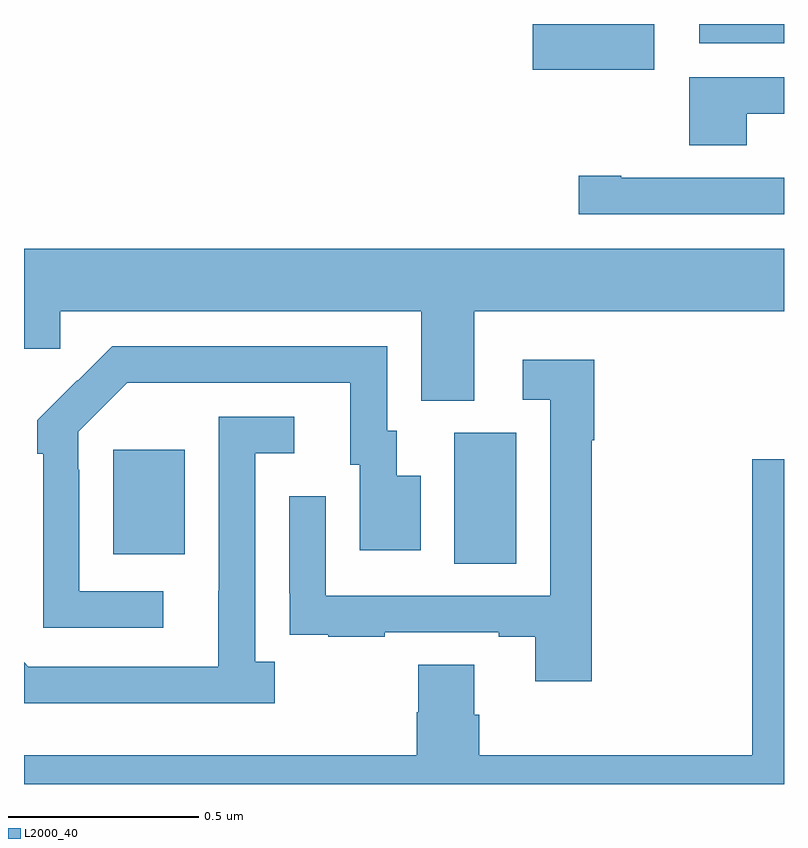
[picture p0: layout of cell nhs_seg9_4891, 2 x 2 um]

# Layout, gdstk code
import gdstk
lib = gdstk.Library(unit=1e-6, precision=1e-09)
def R(c, l, rs):  # rectangles x0, y0, x1, y1
    for r in rs: c.add(gdstk.rectangle(r[:2], r[2:], *l))
def P(c, l, *ps):  # polygons
    for p in ps: c.add(gdstk.Polygon(p, *l))
L2000_40 = (2000, 40)

nhs_seg9_4891 = lib.new_cell('nhs_seg9_4891')
R(nhs_seg9_4891, L2000_40, [(173.132,1205.08,173.296,1205.424), (172.235,1205.105,172.423,1205.38), (173.339,1206.38,173.659,1206.5), (173.777,1206.449,174,1206.5)])
P(nhs_seg9_4891, L2000_40, [(173.902,1206.264),(174,1206.264),(174,1206.36),(173.75,1206.36),(173.75,1206.181),(173.902,1206.181)],
  [(174,1206.096),(173.572,1206.096),(173.572,1206.101),(173.46,1206.101),(173.46,1206),(174,1206)],
  [(173.185,1205.744),(174,1205.744),(174,1205.908),(172,1205.908),(172,1205.646),(172.095,1205.646),(172.095,1205.744),(173.045,1205.744),(173.045,1205.509),(173.185,1205.509)],
  [(172.366,1205.007),(172.146,1205.007),(172.146,1205.327),(172.143,1205.327),(172.143,1205.427),(172.272,1205.556),(172.859,1205.556),(172.859,1205.34),(172.883,1205.34),(172.883,1205.115),(173.044,1205.115),(173.044,1205.311),(172.981,1205.311),(172.981,1205.43),(172.956,1205.43),(172.956,1205.652),(172.232,1205.652),(172.141,1205.561),(172.14,1205.562),(172.035,1205.457),(172.035,1205.369),(172.05,1205.369),(172.05,1204.911),(172.366,1204.911)],
  [(173.494,1205.404),(173.501,1205.404),(173.501,1205.617),(173.313,1205.617),(173.313,1205.511),(173.385,1205.511),(173.385,1204.995),(172.794,1204.995),(172.794,1205.257),(172.698,1205.257),(172.698,1205.002),(172.699,1205.002),(172.699,1204.893),(172.801,1204.893),(172.801,1204.887),(172.949,1204.887),(172.949,1204.899),(173.249,1204.899),(173.249,1204.887),(173.345,1204.887),(173.345,1204.77),(173.494,1204.77)],
  [(172.66,1204.822),(172.608,1204.822),(172.608,1205.37),(172.711,1205.37),(172.711,1205.466),(172.512,1205.466),(172.512,1205.009),(172.511,1205.009),(172.511,1204.809),(172.011,1204.809),(172,1204.82),(172,1204.712),(172.66,1204.712)],
  [(174,1205.355),(173.917,1205.355),(173.917,1204.576),(173.198,1204.576),(173.198,1204.682),(173.185,1204.682),(173.185,1204.814),(173.038,1204.814),(173.038,1204.689),(173.033,1204.689),(173.033,1204.576),(172,1204.576),(172,1204.5),(174,1204.5)])

lib.write_gds('nhs_seg9_4891.gds')
